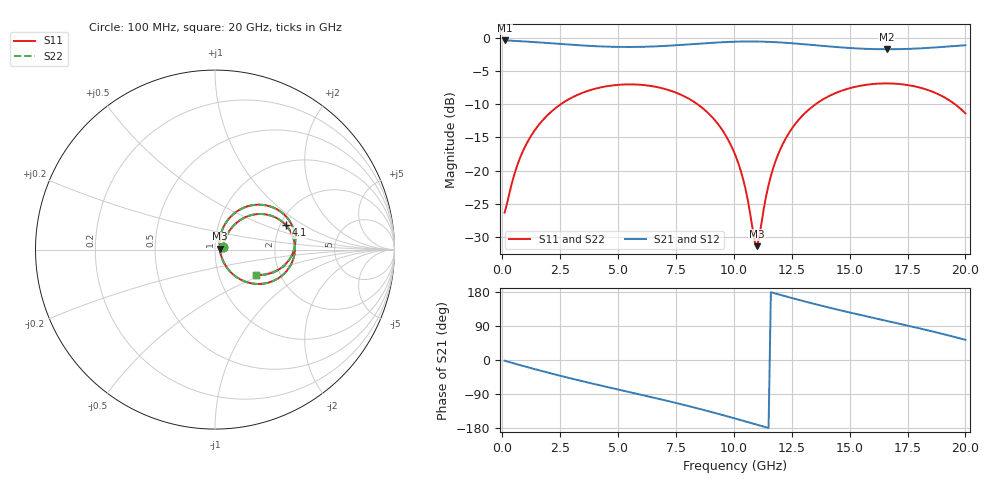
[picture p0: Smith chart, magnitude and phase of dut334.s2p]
! Touchstone file exported from HFSS 2026.1.0
!  File:  C:/ffzhzh/LocalFiles/Ansys_Project_Files/temp_train_TSV_RDL_334_1783033684_46388.aedt
!  Generated:  07:20:29 AM Jul  3, 2026
!  Design:  TSV_RDL
!  Project:  temp_train_TSV_RDL_334_1783033684_46388
! Variables:
!  h_bsmrdl = 2.07um
!  h_ox = 20um
!  h_rdl = 5um
!  h_sub = 73.66um
!  h_tmrdl = 2.41um
!  h_tsv = 73.66um
!  h_via = 3um
!  l_bsmrdl = 425.97um
!  l_sub = 5096.23um
!  l_tmrdl = 830.22um
!  m_sub = 200um
!  pitch = 31.58um
!  r_tsv = 9.18um
!  s_tmrdl = 10um
!  w_bsmrdl = 18.32um
!  w_sub = 500um
!  w_tmrdl = 14.16um
!  x_tsv_center1 = 837.3um
!  x_tsv_center2 = 1281.59um
!  x_tsv_center3 = 2125.97um
!  x_tsv_center4 = 2570.26um
!  x_tsv_center5 = 3414.64um
!  x_tsv_center6 = 3858.93um
# GHz S MA R 50.000000
! Terminal data exported
! Port[1] = TM_RDL1_1_T1
! Port[2] = TM_RDL5_1_T1
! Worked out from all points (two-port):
!   200 points, 100 MHz to 20 GHz, reference 50 ohm
!   highest |S21| = -0.40 dB at 100 MHz (marker M1); lowest = -1.7 dB at 16.6 GHz (marker M2)
!   |S21| within 3 dB of the highest: start of sweep to end of sweep
!   lowest |S11| = -31.4 dB at 11 GHz (marker M3), VSWR 1.06, Z = 52.7 + j0.588 ohm
!   |S11| at or under -10 dB: start of sweep to 2.531 GHz; 8.426 GHz to 13.54 GHz (5.11 GHz wide, 46.5 % of centre); 19.54 GHz to end of sweep
!   |S22| runs from -31.4 to -6.9 dB; largest |S21 - S12| = 1.6e-14
!   S11 on the Smith chart (normalised r, x): 100 MHz: 1.10, +0.03; 4.1 GHz: 2.14, +0.71; 20 GHz: 1.52, -0.46
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0.1  0.04811 17.6  0.9545 -1.8  0.9545 -1.8  0.04811 17.6
! Gamma 0 0 0 0
! Port Impedance 50 0 50 0
0.7  0.1162 51.7  0.9437 -12.4  0.9437 -12.4  0.1162 51.7
1.3  0.1891 51.3  0.93 -22.4  0.93 -22.4  0.1891 51.2
2.3  0.2953 41.6  0.9041 -38.5  0.9041 -38.5  0.2953 41.6
3.5  0.3871 26.8  0.8743 -56.6  0.8743 -56.6  0.3871 26.8
4.1  0.417 19.3  0.863 -65.2  0.863 -65.2  0.417 19.3
5.5  0.4455 1.5  0.8524 -84.8  0.8524 -84.8  0.4455 1.5
6.8  0.4208 -15.3  0.8643 -103.1  0.8643 -103.1  0.4208 -15.3
8.8  0.2803 -42.3  0.9103 -133.4  0.9103 -133.4  0.2802 -42.3
10.1  0.1258 -56.4  0.9347 -155.2  0.9347 -155.2  0.1258 -56.3
10.5  0.07306 -53.8  0.9376 -162.1  0.9376 -162.1  0.07306 -53.7
10.9  0.02917 -15.3  0.9375 -169.0  0.9375 -169.0  0.02927 -15.2
11  0.02692 11.9  0.937 -170.8  0.937 -170.8  0.02706 12.0
11.5  0.07786 67.9  0.9318 -179.4  0.9318 -179.4  0.07797 67.7
11.9  0.1306 69.5  0.9245 173.7  0.9245 173.7  0.1307 69.5
12.5  0.2062 64.2  0.9096 163.6  0.9096 163.6  0.2063 64.2
13.4  0.3036 52.8  0.8821 149.2  0.8821 149.2  0.3037 52.7
14.9  0.412 33.0  0.8397 126.8  0.8397 126.8  0.4121 32.9
16.6  0.4531 11.4  0.8195 103.3  0.8195 103.3  0.4532 11.4
16.7  0.4529 10.2  0.8195 101.9  0.8195 101.9  0.453 10.1
18.5  0.3972 -12.5  0.8411 76.5  0.8411 76.5  0.3973 -12.6
20  0.2696 -31.3  0.8784 53.2  0.8784 53.2  0.2697 -31.4
